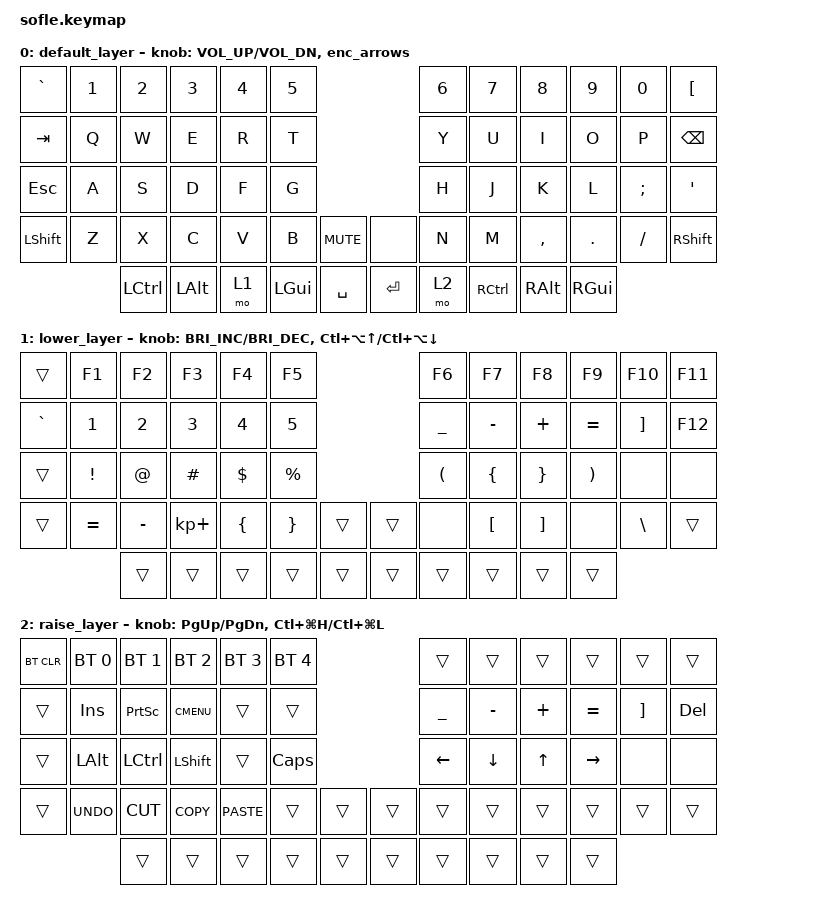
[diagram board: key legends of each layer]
/*
 * Copyright (c) 2020 The ZMK Contributors
 *
 * SPDX-License-Identifier: MIT
 */

#include <behaviors.dtsi>
#include <dt-bindings/zmk/keys.h>
#include <dt-bindings/zmk/bt.h>

&left_encoder { resolution = <2>; };
&right_encoder { resolution = <2>; };

/ {

    behaviors {
        morph_arr_inc: morph_arrows_increment {
            compatible = "zmk,behavior-mod-morph";
            label = "MORPH_ARR_INC";
            #binding-cells = <0>;
            bindings = <&kp UP>, <&kp RIGHT>;
            mods = <(MOD_LGUI)>;
        };
        morph_arr_dec: morph_arrows_decrement {
            compatible = "zmk,behavior-mod-morph";
            label = "MORPH_ARR_DEC";
            #binding-cells = <0>;
            bindings = <&kp DOWN>, <&kp LEFT>;
            mods = <(MOD_LGUI)>;
        };
        enc_arrows: behavior_sensor_rotate_arrows {
            compatible = "zmk,behavior-sensor-rotate";
            label = "ENC_ARR";
            #sensor-binding-cells = <0>;
            bindings = <&morph_arr_inc>, <&morph_arr_dec>;
        };
    };

    keymap {
        compatible = "zmk,keymap";

        default_layer {
// ------------------------------------------------------------------------------------------------------------
// |  `    |  1  |  2   |  3  |  4    |  5  |                   |  6   |  7    |  8    |  9   |   0   |   [   |
// |  TAB  |  Q  |  W   |  E  |  R    |  T  |                   |  Y   |  U    |  I    |  O   |   P   | BKSPC |
// |  ESC  |  A  |  S   |  D  |  F    |  G  |                   |  H   |  J    |  K    |  L   |   ;   |   '   |
// | SHIFT |  Z  |  X   |  C  |  V    |  B  |  MUTE  |  |       |  N   |  M    |  ,    |  .   |   /   | SHIFT |
//               | CTRL | ALT | LOWER | GUI |  SPACE |  | ENTER | RAISE| CTRL  | ALT   | GUI  |
            bindings = <
&kp GRAVE &kp N1 &kp N2    &kp N3   &kp N4 &kp N5                      &kp N6 &kp N7    &kp N8    &kp N9   &kp N0   &kp LBKT
&kp TAB   &kp Q  &kp W     &kp E    &kp R  &kp T                       &kp Y  &kp U     &kp I     &kp O    &kp P    &kp BSPC
&kp ESC   &kp A  &kp S     &kp D    &kp F  &kp G                       &kp H  &kp J     &kp K     &kp L    &kp SEMI &kp SQT
&kp LSHFT &kp Z  &kp X     &kp C    &kp V  &kp B    &kp C_MUTE  &none  &kp N  &kp M     &kp COMMA &kp DOT  &kp FSLH &kp RSHFT
                 &kp LCTRL &kp LALT &mo 1  &kp LGUI &kp SPACE   &kp RET &mo 2  &kp RCTRL &kp RALT  &kp RGUI
            >;

            sensor-bindings = <&inc_dec_kp C_VOL_UP C_VOL_DN &enc_arrows>;
        };

        lower_layer {
// TODO: Some binds are waiting for shifted keycode support.
// ------------------------------------------------------------------------------------------------------------
// |       |  F1 |  F2 |  F3  |  F4  |  F5  |                   |  F6  |  F7   |  F8   |  F9  |  F10  |  F11  |
// | `     |  1  |  2  |  3   |  4   |  5   |                   |   _  |   -   |   +   |   =  |    ]  |  F12  |
// |       |  !  |  @  |  #   |  $   |  %   |                   |  (   |  {    |  }    |  )   |       |       |
// |       |  =  |  -  |  +   |  {   |  }   |        |  |       |      |  [    |  ]    |      |   \   |       |
//               |     |      |      |      |        |  |       |      |       |       |      |
            bindings = <
&trans    &kp F1    &kp F2    &kp F3      &kp F4    &kp F5                    &kp F6    &kp F7    &kp F8   &kp F9    &kp F10  &kp F11
&kp GRAVE &kp N1    &kp N2    &kp N3      &kp N4    &kp N5                    &kp UNDER &kp MINUS &kp PLUS &kp EQUAL &kp RBKT &kp F12
&trans    &kp EXCL  &kp AT    &kp HASH    &kp DLLR  &kp PRCNT                 &kp LPAR  &kp LBRC  &kp RBRC &kp RPAR  &none    &none
&trans    &kp EQUAL &kp MINUS &kp KP_PLUS &kp LBRC  &kp RBRC  &trans   &trans &none     &kp LBKT  &kp RBKT &none     &kp BSLH &trans
                    &trans    &trans      &trans    &trans    &trans   &trans &trans    &trans    &trans   &trans
            >;

            sensor-bindings = <&inc_dec_kp C_BRIGHTNESS_INC C_BRIGHTNESS_DEC &inc_dec_kp LC(LA(UP)) LC(LA(DOWN))>;
        };

        raise_layer {
// ------------------------------------------------------------------------------------------------------------
// |BTCLR| BT1  | BT2  |  BT3  |  BT4  |  BT5 |                |       |       |       |       |       |       |
// |     | INS  | PSCR | GUI   |       |      |                |   _   |   -   |   +   |   =   |   ]   |  DEL  |
// |     | ALT  | CTRL | SHIFT |       | CAPS |                |   ←   |   ↓   |   ↑   |   →   |       |       |
// |     | UNDO | CUT  | COPY  | PASTE |      |      |  |      |       |       |       |       |       |       |
//              |      |       |       |      |      |  |      |       |       |       |       |
            bindings = <
&bt BT_CLR &bt BT_SEL 0 &bt BT_SEL 1 &bt BT_SEL 2 &bt BT_SEL 3 &bt BT_SEL 4             &trans    &trans    &trans   &trans    &trans  &trans
&trans     &kp INS      &kp PSCRN    &kp K_CMENU  &trans       &trans                   &kp UNDER &kp MINUS &kp PLUS &kp EQUAL &kp RBKT &kp DEL
&trans     &kp LALT     &kp LCTRL    &kp LSHFT    &trans       &kp CLCK                 &kp LEFT  &kp DOWN  &kp UP   &kp RIGHT &none    &none
&trans     &kp K_UNDO   &kp K_CUT    &kp K_COPY   &kp K_PASTE  &trans  &trans   &trans  &trans    &trans    &trans   &trans    &trans   &trans
                        &trans       &trans       &trans       &trans  &trans   &trans  &trans    &trans    &trans   &trans
            >;

            sensor-bindings = <&inc_dec_kp PG_UP PG_DN &inc_dec_kp LC(LG(H)) LC(LG(L))>;
        };
    };
};
